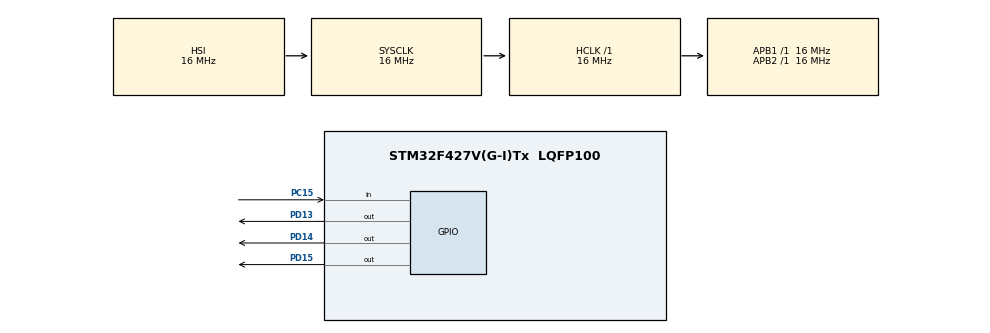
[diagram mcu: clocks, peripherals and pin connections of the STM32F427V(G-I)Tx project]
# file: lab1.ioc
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Mcu.Family=STM32F4
Mcu.Name=STM32F427V(G-I)Tx
Mcu.Package=LQFP100
NVIC.PriorityGroup=NVIC_PRIORITYGROUP_4
PA13.Mode=JTAG_5_pins
PA13.Signal=SYS_JTMS-SWDIO
PA14.Mode=JTAG_5_pins
PA14.Signal=SYS_JTCK-SWCLK
PA15.Mode=JTAG_5_pins
PA15.Signal=SYS_JTDI
PB3.Mode=JTAG_5_pins
PB3.Signal=SYS_JTDO-SWO
PB4.Mode=JTAG_5_pins
PB4.Signal=SYS_JTRST
PC15/OSC32_OUT.Signal=GPIO_Input
PD13.Signal=GPIO_Output
PD14.Signal=GPIO_Output
PD15.Signal=GPIO_Output
ProjectManager.HeapSize=0x200
ProjectManager.StackSize=0x400
ProjectManager.TargetToolchain=STM32CubeIDE
RCC.AHBFreq_Value=16000000
RCC.APB1Freq_Value=16000000
RCC.APB2Freq_Value=16000000
RCC.CortexFreq_Value=16000000
RCC.HSE_VALUE=25000000
RCC.HSI_VALUE=16000000
RCC.LSE_VALUE=32768
RCC.SYSCLKFreq_VALUE=16000000
RCC.VCOOutputFreq_Value=192000000
board=custom

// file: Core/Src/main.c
/* USER CODE BEGIN Header */
/**
  ******************************************************************************
  * @file           : main.c
  * @brief          : Main program body
  ******************************************************************************
  * @attention
  *
  * Copyright (c) 2026 STMicroelectronics.
  * All rights reserved.
  *
  * This software is licensed under terms that can be found in the LICENSE file
  * in the root directory of this software component.
  * If no LICENSE file comes with this software, it is provided AS-IS.
  *
  ******************************************************************************
  */
/* USER CODE END Header */
#include "main.h"

/* USER CODE BEGIN Includes */
#include "button.h"
#include "leds.h"
/* USER CODE END Includes */

/* USER CODE BEGIN PV */
/* --- Прикладное состояние --- */
static int s_counter        = 0;   /* 0..3 */
static int s_overflow_count = 0;

/* --- Конечный автомат анимации --- */
#define ANIM_STEP_MS 150u

typedef enum {
    ANIM_IDLE = 0,
    ANIM_DUAL_ON,
    ANIM_DUAL_OFF,
    ANIM_GREEN_ON,
    ANIM_GREEN_OFF
} anim_state_t;

static anim_state_t s_anim       = ANIM_IDLE;
static uint32_t     s_anim_tick  = 0;
static int          s_anim_green = 0;   /* сколько ещё зелёных миганий */

static int anim_is_idle(void) { return s_anim == ANIM_IDLE; }

static void anim_start(int green_blinks)
{
    s_anim_green = green_blinks;
    leds_write(LED_ALL);          /* оба ON — старт «двойного» мигания */
    s_anim      = ANIM_DUAL_ON;
    s_anim_tick = HAL_GetTick();
}

/* Неблокирующий шаг анимации. Вызывать каждый проход цикла. */
static void anim_tick(void)
{
    if (s_anim == ANIM_IDLE) return;

    uint32_t now = HAL_GetTick();
    if ((now - s_anim_tick) < ANIM_STEP_MS) return;
    s_anim_tick = now;

    switch (s_anim) {
    case ANIM_DUAL_ON:
        leds_write(0);
        s_anim = ANIM_DUAL_OFF;
        break;

    case ANIM_DUAL_OFF:
        if (s_anim_green > 0) {
            leds_write(LED_GREEN);
            s_anim = ANIM_GREEN_ON;
        } else {
            s_anim = ANIM_IDLE;
        }
        break;

    case ANIM_GREEN_ON:
        leds_write(0);
        s_anim = ANIM_GREEN_OFF;
        break;

    case ANIM_GREEN_OFF:
        s_anim_green--;
        if (s_anim_green > 0) {
            leds_write(LED_GREEN);
            s_anim = ANIM_GREEN_ON;
        } else {
            s_anim = ANIM_IDLE;
        }
        break;

    default:
        s_anim = ANIM_IDLE;
        break;
    }
}
/* USER CODE END PV */

void SystemClock_Config(void);
static void MX_GPIO_Init(void);

int main(void)
{

  /* USER CODE BEGIN 1 */
////
  /* USER CODE END 1 */

  /* MCU Configuration--------------------------------------------------------*/

  /* Reset of all peripherals, Initializes the Flash interface and the Systick. */
  HAL_Init();

  /* USER CODE BEGIN Init */
////
  /* USER CODE END Init */

  /* Configure the system clock */
  SystemClock_Config();

  /* USER CODE BEGIN SysInit */
////
  /* USER CODE END SysInit */

  /* Initialize all configured peripherals */
  MX_GPIO_Init();
  /* USER CODE BEGIN 2 */
  leds_init();
  button_init();
  leds_write((uint8_t)s_counter);
  /* USER CODE END 2 */

  /* Infinite loop */
  /* USER CODE BEGIN WHILE */
  while (1)
  {
      /* --- Процесс 1: опрос кнопки (быстрый, неблокирующий) --- */
      button_event_t ev = button_poll();

      /* Реагируем только когда анимация не идёт, чтобы не «затереть» её */
      if (anim_is_idle()) {
          if (ev == BTN_SHORT_PRESS) {
              s_counter++;
              if (s_counter > 3) {
                  s_counter = 0;
                  s_overflow_count++;
                  anim_start(s_overflow_count);
              }
          } else if (ev == BTN_LONG_PRESS) {
              s_counter--;
              if (s_counter < 0) {
                  s_counter = 3;
                  if (s_overflow_count > 0) {
                      s_overflow_count--;
                      anim_start(s_overflow_count);
                  }
              }
          }
      }

      /* --- Процесс 2: шаг анимации (тоже неблокирующий) --- */
      anim_tick();

      /* --- Процесс 3: обновление LED, если нет анимации --- */
      if (anim_is_idle()) {
          leds_write((uint8_t)s_counter);
      }

    /* USER CODE END WHILE */

  }
}

void SystemClock_Config(void)
{
  RCC_OscInitTypeDef RCC_OscInitStruct = {0};
  RCC_ClkInitTypeDef RCC_ClkInitStruct = {0};

  /** Configure the main internal regulator output voltage
  */
  __HAL_RCC_PWR_CLK_ENABLE();
  __HAL_PWR_VOLTAGESCALING_CONFIG(PWR_REGULATOR_VOLTAGE_SCALE3);

  /** Initializes the RCC Oscillators according to the specified parameters
  * in the RCC_OscInitTypeDef structure.
  */
  RCC_OscInitStruct.OscillatorType = RCC_OSCILLATORTYPE_HSI;
  RCC_OscInitStruct.HSIState = RCC_HSI_ON;
  RCC_OscInitStruct.HSICalibrationValue = RCC_HSICALIBRATION_DEFAULT;
  RCC_OscInitStruct.PLL.PLLState = RCC_PLL_NONE;
  if (HAL_RCC_OscConfig(&RCC_OscInitStruct) != HAL_OK)
  {
    Error_Handler();
  }

  /** Initializes the CPU, AHB and APB buses clocks
  */
  RCC_ClkInitStruct.ClockType = RCC_CLOCKTYPE_HCLK|RCC_CLOCKTYPE_SYSCLK
                              |RCC_CLOCKTYPE_PCLK1|RCC_CLOCKTYPE_PCLK2;
  RCC_ClkInitStruct.SYSCLKSource = RCC_SYSCLKSOURCE_HSI;
  RCC_ClkInitStruct.AHBCLKDivider = RCC_SYSCLK_DIV1;
  RCC_ClkInitStruct.APB1CLKDivider = RCC_HCLK_DIV1;
  RCC_ClkInitStruct.APB2CLKDivider = RCC_HCLK_DIV1;

  if (HAL_RCC_ClockConfig(&RCC_ClkInitStruct, FLASH_LATENCY_0) != HAL_OK)
  {
    Error_Handler();
  }
}

static void MX_GPIO_Init(void)
{
  GPIO_InitTypeDef GPIO_InitStruct = {0};

  /* GPIO Ports Clock Enable */
  __HAL_RCC_GPIOC_CLK_ENABLE();
  __HAL_RCC_GPIOD_CLK_ENABLE();
  __HAL_RCC_GPIOA_CLK_ENABLE();
  __HAL_RCC_GPIOB_CLK_ENABLE();

  /*Configure GPIO pin Output Level */
  HAL_GPIO_WritePin(GPIOD, GPIO_PIN_13|GPIO_PIN_14|GPIO_PIN_15, GPIO_PIN_RESET);

  /*Configure GPIO pin : PC15 */
  GPIO_InitStruct.Pin = GPIO_PIN_15;
  GPIO_InitStruct.Mode = GPIO_MODE_INPUT;
  GPIO_InitStruct.Pull = GPIO_NOPULL;
  HAL_GPIO_Init(GPIOC, &GPIO_InitStruct);

  /*Configure GPIO pins : PD13 PD14 PD15 */
  GPIO_InitStruct.Pin = GPIO_PIN_13|GPIO_PIN_14|GPIO_PIN_15;
  GPIO_InitStruct.Mode = GPIO_MODE_OUTPUT_PP;
  GPIO_InitStruct.Pull = GPIO_NOPULL;
  GPIO_InitStruct.Speed = GPIO_SPEED_FREQ_LOW;
  HAL_GPIO_Init(GPIOD, &GPIO_InitStruct);

}

void Error_Handler(void)
{
  __disable_irq();
  while (1)
  {
  }
}
